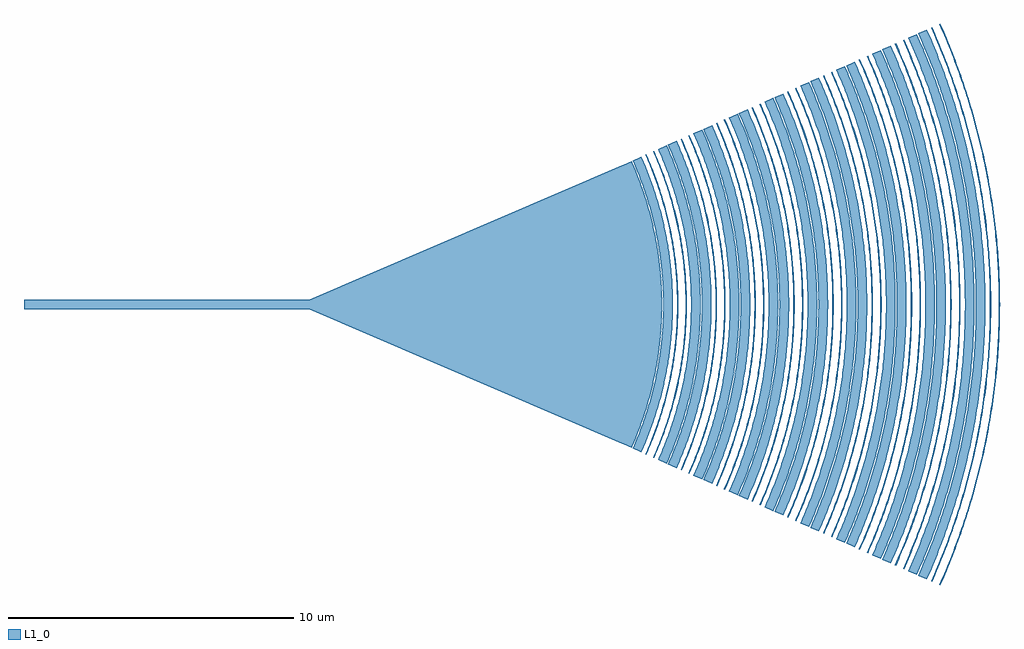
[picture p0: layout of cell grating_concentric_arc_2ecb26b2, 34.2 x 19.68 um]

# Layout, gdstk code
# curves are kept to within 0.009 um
import gdstk
lib = gdstk.Library(unit=1e-6, precision=1e-09)
def R(c, l, rs):  # rectangles x0, y0, x1, y1
    for r in rs: c.add(gdstk.rectangle(r[:2], r[2:], *l))
def P(c, l, *ps):  # polygons
    for p in ps: c.add(gdstk.Polygon(p, *l))
L1_0 = (1, 0)

straight_3aa2beef = lib.new_cell('straight_3aa2beef')
R(straight_3aa2beef, L1_0, [(0,-0.175,10,0.175)])

ring_4ba980b7_transform_ = lib.new_cell('ring_4ba980b7_transform_9ef87e85')
P(ring_4ba980b7_transform_, L1_0, [(10.049,-4.474),(10.246,-4.002),(10.462,-3.399),(10.642,-2.785),(10.76,-2.287),(10.865,-1.721),(10.94,-1.15),(10.985,-0.576),(11,-0.064),(10.985,0.576),(10.94,1.15),(10.865,1.721),(10.76,2.287),(10.642,2.785),(10.462,3.399),(10.246,4.002),(10.049,4.474),(11.289,5.026),(11.613,4.227),(11.899,3.337),(12.103,2.499),(12.238,1.72),(12.323,0.934),(12.358,0.072),(12.333,-0.79),(12.257,-1.577),(12.103,-2.499),(11.899,-3.337),(11.613,-4.227),(11.289,-5.026)])

ring_e87ca34e_transform_ = lib.new_cell('ring_e87ca34e_transform_e668de71')
P(ring_e87ca34e_transform_, L1_0, [(11.328,-5.043),(11.524,-4.578),(11.748,-3.969),(11.919,-3.418),(12.066,-2.86),(12.186,-2.295),(12.289,-1.654),(12.359,-1.009),(12.395,-0.361),(12.395,0.361),(12.353,1.081),(12.269,1.797),(12.158,2.437),(12.014,3.07),(11.837,3.694),(11.602,4.376),(11.328,5.043),(11.636,5.18),(11.891,4.564),(12.136,3.865),(12.322,3.225),(12.503,2.43),(12.633,1.626),(12.706,0.888),(12.735,0.222),(12.729,-0.445),(12.682,-1.184),(12.568,-2.066),(12.427,-2.793),(12.202,-3.653),(11.969,-4.356),(11.636,-5.18)])

ring_21615634_transform_ = lib.new_cell('ring_21615634_transform_f501d0bd')
P(ring_21615634_transform_, L1_0, [(11.772,-5.241),(12.003,-4.688),(12.109,-4.407),(12.232,-4.053),(12.345,-3.696),(12.447,-3.335),(12.589,-2.752),(12.703,-2.164),(12.75,-1.868),(12.799,-1.496),(12.837,-1.123),(12.86,-0.824),(12.878,-0.45),(12.886,-0.075),(12.884,0.225),(12.872,0.6),(12.86,0.824),(12.823,1.272),(12.79,1.57),(12.739,1.942),(12.635,2.532),(12.556,2.899),(12.485,3.19),(12.345,3.696),(12.232,4.053),(12.083,4.478),(11.948,4.827),(11.772,5.241),(11.809,5.258),(12.041,4.703),(12.198,4.279),(12.294,3.994),(12.405,3.635),(12.486,3.346),(12.578,2.981),(12.644,2.688),(12.717,2.319),(12.779,1.948),(12.856,1.351),(12.89,0.977),(12.909,0.677),(12.923,0.301),(12.926,-0.15),(12.905,-0.752),(12.884,-1.052),(12.848,-1.426),(12.801,-1.799),(12.743,-2.171),(12.689,-2.466),(12.612,-2.834),(12.524,-3.2),(12.426,-3.563),(12.317,-3.923),(12.198,-4.279),(12.041,-4.703),(11.809,-5.258)])

ring_7d6dc47c_transform_ = lib.new_cell('ring_7d6dc47c_transform_3115335e')
P(ring_7d6dc47c_transform_, L1_0, [(12.043,-5.362),(12.165,-5.08),(12.335,-4.653),(12.538,-4.074),(12.714,-3.486),(12.81,-3.115),(12.879,-2.816),(12.941,-2.515),(13.021,-2.062),(13.055,-1.835),(13.111,-1.378),(13.161,-0.767),(13.175,-0.46),(13.183,-0.077),(13.181,0.23),(13.169,0.613),(13.151,0.92),(13.119,1.302),(13.085,1.607),(13.021,2.062),(12.911,2.666),(12.773,3.264),(12.607,3.854),(12.465,4.292),(12.335,4.653),(12.165,5.08),(12.043,5.362),(12.08,5.378),(12.232,5.025),(12.373,4.667),(12.478,4.378),(12.6,4.013),(12.69,3.719),(12.793,3.348),(12.935,2.749),(12.995,2.448),(13.061,2.069),(13.143,1.459),(13.18,1.076),(13.201,0.769),(13.218,0.385),(13.224,0),(13.218,-0.385),(13.201,-0.769),(13.18,-1.076),(13.143,-1.459),(13.095,-1.84),(13.036,-2.22),(12.981,-2.523),(12.902,-2.9),(12.793,-3.348),(12.69,-3.719),(12.6,-4.013),(12.478,-4.378),(12.317,-4.811),(12.142,-5.238),(12.08,-5.378)])

ring_78e74c70_transform_ = lib.new_cell('ring_78e74c70_transform_da5b2d7b')
P(ring_78e74c70_transform_, L1_0, [(12.217,-5.44),(12.429,-4.938),(12.695,-4.207),(12.877,-3.611),(13.031,-3.008),(13.184,-2.246),(13.274,-1.63),(13.341,-0.933),(13.368,-0.389),(13.368,0.389),(13.323,1.166),(13.221,2.015),(13.113,2.628),(12.938,3.386),(12.743,4.059),(12.513,4.72),(12.217,5.44),(12.524,5.576),(12.799,4.913),(13.063,4.16),(13.283,3.394),(13.442,2.694),(13.565,1.987),(13.664,1.115),(13.704,0.399),(13.704,-0.399),(13.65,-1.274),(13.541,-2.145),(13.376,-3.006),(13.156,-3.855),(12.883,-4.689),(12.524,-5.576)])

ring_c558f3fc_transform_ = lib.new_cell('ring_c558f3fc_transform_60237c54')
P(ring_c558f3fc_transform_, L1_0, [(12.564,-5.594),(12.811,-5.003),(13.004,-4.478),(13.198,-3.868),(13.382,-3.172),(13.53,-2.467),(13.63,-1.835),(13.701,-1.199),(13.745,-0.48),(13.745,0.48),(13.701,1.199),(13.608,1.993),(13.485,2.703),(13.305,3.482),(13.08,4.25),(12.811,5.003),(12.564,5.594),(12.871,5.73),(13.211,4.896),(13.449,4.197),(13.65,3.488),(13.83,2.688),(13.952,1.961),(14.042,1.146),(14.083,0.41),(14.083,-0.41),(14.06,-0.901),(14.012,-1.473),(13.889,-2.366),(13.728,-3.169),(13.497,-4.041),(13.211,-4.896),(12.871,-5.73)])

ring_3aac41f4_transform_ = lib.new_cell('ring_3aac41f4_transform_5b0ce5d2')
P(ring_3aac41f4_transform_, L1_0, [(13.009,-5.792),(13.172,-5.411),(13.294,-5.103),(13.437,-4.714),(13.543,-4.4),(13.665,-4.005),(13.776,-3.605),(13.929,-2.961),(14.009,-2.554),(14.077,-2.146),(14.162,-1.488),(14.216,-0.828),(14.234,-0.414),(14.24,0),(14.234,0.414),(14.216,0.828),(14.162,1.488),(14.077,2.146),(14.009,2.554),(13.946,2.88),(13.875,3.203),(13.776,3.605),(13.593,4.242),(13.437,4.714),(13.294,5.103),(13.172,5.411),(13.009,5.792),(13.046,5.808),(13.209,5.426),(13.332,5.118),(13.475,4.728),(13.607,4.334),(13.704,4.016),(13.815,3.616),(13.933,3.131),(13.985,2.888),(14.049,2.562),(14.117,2.152),(14.153,1.905),(14.202,1.493),(14.233,1.162),(14.261,0.747),(14.278,0.249),(14.28,-0.083),(14.272,-0.498),(14.251,-0.913),(14.226,-1.245),(14.184,-1.658),(14.091,-2.316),(14.018,-2.725),(13.933,-3.131),(13.836,-3.535),(13.75,-3.856),(13.632,-4.255),(13.475,-4.728),(13.302,-5.195),(13.046,-5.808)])

ring_c8a88486_transform_ = lib.new_cell('ring_c8a88486_transform_3725f26d')
P(ring_c8a88486_transform_, L1_0, [(13.282,-5.913),(13.416,-5.603),(13.573,-5.21),(13.719,-4.813),(13.827,-4.493),(13.952,-4.089),(14.065,-3.681),(14.147,-3.353),(14.221,-3.023),(14.303,-2.608),(14.36,-2.274),(14.409,-1.94),(14.459,-1.52),(14.497,-1.099),(14.519,-0.761),(14.535,-0.338),(14.539,0),(14.535,0.338),(14.519,0.761),(14.497,1.099),(14.459,1.52),(14.409,1.94),(14.36,2.274),(14.303,2.608),(14.221,3.023),(14.147,3.353),(14.065,3.681),(13.903,4.251),(13.801,4.573),(13.633,5.052),(13.448,5.525),(13.282,5.913),(13.319,5.93),(13.549,5.383),(13.671,5.066),(13.785,4.746),(13.917,4.344),(14.104,3.691),(14.186,3.362),(14.278,2.948),(14.358,2.532),(14.413,2.197),(14.46,1.861),(14.508,1.44),(14.544,1.017),(14.567,0.594),(14.579,-0.085),(14.559,-0.763),(14.531,-1.186),(14.49,-1.608),(14.4,-2.281),(14.343,-2.615),(14.243,-3.114),(14.146,-3.527),(14.014,-4.019),(13.917,-4.344),(13.785,-4.746),(13.611,-5.225),(13.387,-5.774),(13.319,-5.93)])

ring_043f274a_transform_ = lib.new_cell('ring_043f274a_transform_35532aca')
P(ring_043f274a_transform_, L1_0, [(13.457,-5.992),(13.69,-5.439),(13.956,-4.715),(14.184,-3.978),(14.353,-3.314),(14.522,-2.474),(14.621,-1.795),(14.689,-1.113),(14.725,-0.428),(14.725,0.428),(14.675,1.284),(14.588,2.05),(14.444,2.895),(14.251,3.73),(14.036,4.471),(13.783,5.199),(13.457,5.992),(13.763,6.128),(14.065,5.399),(14.355,4.572),(14.597,3.73),(14.789,2.875),(14.931,2.01),(15.016,1.226),(15.059,0.438),(15.059,-0.438),(15.035,-0.963),(14.992,-1.488),(14.88,-2.357),(14.699,-3.304),(14.482,-4.153),(14.157,-5.153),(13.763,-6.128)])

ring_db282fc3_transform_ = lib.new_cell('ring_db282fc3_transform_7a5d07a5')
P(ring_db282fc3_transform_, L1_0, [(13.804,-6.146),(14.107,-5.415),(14.344,-4.753),(14.573,-3.996),(14.724,-3.399),(14.866,-2.71),(14.998,-1.842),(15.068,-1.142),(15.107,-0.352),(15.102,0.527),(15.061,1.229),(14.964,2.103),(14.799,3.056),(14.596,3.911),(14.398,4.586),(14.107,5.415),(13.804,6.146),(14.11,6.282),(14.452,5.451),(14.744,4.602),(14.987,3.737),(15.162,2.947),(15.295,2.15),(15.387,1.346),(15.439,0.449),(15.439,-0.449),(15.379,-1.436),(15.269,-2.327),(15.108,-3.211),(14.872,-4.171),(14.717,-4.687),(14.514,-5.283),(14.321,-5.786),(14.11,-6.282)])

ring_b62f3d1b_transform_ = lib.new_cell('ring_b62f3d1b_transform_773a5bcc')
P(ring_b62f3d1b_transform_, L1_0, [(14.25,-6.344),(14.428,-5.927),(14.562,-5.59),(14.719,-5.164),(14.835,-4.82),(14.969,-4.387),(15.067,-4.037),(15.157,-3.685),(15.238,-3.332),(15.312,-2.976),(15.392,-2.53),(15.459,-2.081),(15.503,-1.721),(15.539,-1.359),(15.572,-0.907),(15.592,-0.454),(15.598,-0.091),(15.589,0.544),(15.572,0.907),(15.531,1.45),(15.471,1.991),(15.42,2.35),(15.361,2.709),(15.276,3.154),(15.219,3.42),(15.113,3.862),(15.019,4.212),(14.917,4.56),(14.778,4.992),(14.626,5.42),(14.428,5.927),(14.25,6.344),(14.287,6.361),(14.466,5.943),(14.6,5.604),(14.757,5.177),(14.901,4.746),(14.982,4.485),(15.106,4.048),(15.217,3.607),(15.316,3.162),(15.417,2.626),(15.474,2.267),(15.553,1.635),(15.601,1.091),(15.622,0.728),(15.639,0),(15.622,-0.728),(15.601,-1.091),(15.553,-1.635),(15.499,-2.086),(15.432,-2.536),(15.334,-3.073),(15.278,-3.34),(15.152,-3.872),(15.058,-4.223),(14.901,-4.746),(14.787,-5.091),(14.6,-5.604),(14.36,-6.194),(14.287,-6.361)])

ring_c989861c_transform_ = lib.new_cell('ring_c989861c_transform_946d73ca')
P(ring_c989861c_transform_, L1_0, [(14.524,-6.467),(14.671,-6.127),(14.843,-5.698),(15.002,-5.264),(15.121,-4.913),(15.231,-4.56),(15.333,-4.204),(15.427,-3.846),(15.532,-3.396),(15.607,-3.034),(15.673,-2.67),(15.757,-2.121),(15.802,-1.754),(15.846,-1.294),(15.872,-0.924),(15.889,-0.555),(15.899,-0.092),(15.898,0.185),(15.882,0.74),(15.83,1.478),(15.78,1.938),(15.731,2.304),(15.673,2.67),(15.589,3.124),(15.512,3.486),(15.427,3.846),(15.333,4.204),(15.177,4.737),(15.033,5.176),(14.876,5.611),(14.671,6.127),(14.524,6.467),(14.561,6.483),(14.744,6.057),(14.881,5.712),(15.071,5.189),(15.188,4.837),(15.296,4.483),(15.42,4.036),(15.51,3.676),(15.591,3.314),(15.681,2.859),(15.743,2.493),(15.809,2.035),(15.852,1.666),(15.894,1.204),(15.922,0.742),(15.937,0.278),(15.939,-0.093),(15.93,-0.556),(15.907,-1.019),(15.879,-1.389),(15.842,-1.758),(15.797,-2.126),(15.713,-2.676),(15.61,-3.223),(15.531,-3.586),(15.42,-4.036),(15.322,-4.393),(15.188,-4.837),(15.071,-5.189),(14.881,-5.712),(14.636,-6.313),(14.561,-6.483)])

ring_250f2cf2_transform_ = lib.new_cell('ring_250f2cf2_transform_933816e6')
P(ring_250f2cf2_transform_, L1_0, [(14.702,-6.546),(15.024,-5.767),(15.276,-5.062),(15.495,-4.346),(15.701,-3.529),(15.832,-2.887),(15.973,-1.961),(16.047,-1.216),(16.086,-0.468),(16.086,0.468),(16.032,1.403),(15.923,2.332),(15.779,3.163),(15.592,3.984),(15.334,4.884),(15.024,5.767),(14.702,6.546),(15.006,6.681),(15.335,5.887),(15.652,4.985),(15.915,4.067),(16.125,3.134),(16.253,2.381),(16.364,1.432),(16.413,0.669),(16.422,-0.382),(16.364,-1.432),(16.253,-2.381),(16.087,-3.322),(15.842,-4.344),(15.652,-4.985),(15.436,-5.618),(15.266,-6.065),(15.006,-6.681)])

ring_96a9cfee_transform_ = lib.new_cell('ring_96a9cfee_transform_826e98af')
P(ring_96a9cfee_transform_, L1_0, [(15.049,-6.7),(15.345,-5.993),(15.607,-5.272),(15.835,-4.541),(16.051,-3.706),(16.223,-2.861),(16.351,-2.008),(16.44,-1.053),(16.469,-0.383),(16.46,0.671),(16.411,1.436),(16.313,2.293),(16.171,3.143),(15.961,4.078),(15.725,4.908),(15.447,5.724),(15.049,6.7),(15.354,6.836),(15.76,5.84),(16.044,5.007),(16.308,4.066),(16.498,3.207),(16.657,2.242),(16.759,1.27),(16.8,0.489),(16.8,-0.489),(16.743,-1.465),(16.615,-2.533),(16.44,-3.494),(16.308,-4.066),(16.156,-4.633),(15.954,-5.286),(15.76,-5.84),(15.354,-6.836)])

ring_41fd5f24_transform_ = lib.new_cell('ring_41fd5f24_transform_95033df4')
P(ring_41fd5f24_transform_, L1_0, [(15.495,-6.899),(15.689,-6.445),(15.835,-6.078),(16.005,-5.615),(16.131,-5.241),(16.277,-4.77),(16.409,-4.295),(16.527,-3.815),(16.591,-3.526),(16.65,-3.236),(16.737,-2.751),(16.81,-2.263),(16.858,-1.871),(16.897,-1.478),(16.933,-0.986),(16.951,-0.592),(16.961,-0.099),(16.957,0.395),(16.943,0.789),(16.927,1.085),(16.888,1.577),(16.823,2.165),(16.768,2.556),(16.704,2.945),(16.631,3.333),(16.481,4.007),(16.358,4.485),(16.249,4.865),(16.069,5.429),(15.87,5.986),(15.689,6.445),(15.495,6.899),(15.532,6.915),(15.689,6.552),(15.837,6.185),(16.01,5.722),(16.17,5.254),(16.316,4.781),(16.397,4.496),(16.497,4.113),(16.63,3.535),(16.726,3.05),(16.808,2.562),(16.863,2.17),(16.909,1.777),(16.973,0.989),(16.995,0.494),(17.002,0),(16.995,-0.494),(16.973,-0.989),(16.909,-1.777),(16.85,-2.268),(16.777,-2.757),(16.708,-3.147),(16.609,-3.632),(16.497,-4.113),(16.397,-4.496),(16.259,-4.971),(16.107,-5.442),(15.908,-6),(15.689,-6.552),(15.532,-6.915)])

ring_26d16d3f_transform_ = lib.new_cell('ring_26d16d3f_transform_29b5754f')
P(ring_26d16d3f_transform_, L1_0, [(15.771,-7.022),(15.969,-6.56),(16.153,-6.093),(16.323,-5.621),(16.45,-5.239),(16.595,-4.759),(16.701,-4.371),(16.844,-3.786),(16.907,-3.491),(16.984,-3.097),(17.067,-2.601),(17.123,-2.204),(17.169,-1.805),(17.207,-1.405),(17.235,-1.004),(17.259,-0.402),(17.264,0),(17.259,0.402),(17.235,1.004),(17.207,1.405),(17.169,1.805),(17.123,2.204),(17.067,2.601),(16.984,3.097),(16.907,3.491),(16.844,3.786),(16.701,4.371),(16.595,4.759),(16.48,5.143),(16.323,5.621),(16.153,6.093),(15.969,6.56),(15.771,7.022),(15.808,7.038),(15.968,6.668),(16.191,6.107),(16.361,5.634),(16.488,5.251),(16.606,4.866),(16.715,4.479),(16.838,3.991),(16.947,3.499),(17.041,3.005),(17.107,2.607),(17.163,2.209),(17.22,1.709),(17.269,1.107),(17.29,0.705),(17.303,0.201),(17.304,-0.101),(17.294,-0.604),(17.275,-1.006),(17.247,-1.408),(17.199,-1.909),(17.136,-2.408),(17.075,-2.806),(17.005,-3.203),(16.905,-3.696),(16.838,-3.991),(16.715,-4.479),(16.548,-5.059),(16.394,-5.538),(16.191,-6.107),(15.929,-6.761),(15.808,-7.038)])

ring_d49cd680_transform_ = lib.new_cell('ring_d49cd680_transform_cfafa984')
P(ring_d49cd680_transform_, L1_0, [(15.95,-7.101),(16.3,-6.257),(16.573,-5.492),(16.811,-4.715),(17.035,-3.828),(17.212,-2.932),(17.317,-2.229),(17.41,-1.319),(17.455,-0.406),(17.449,0.609),(17.384,1.623),(17.26,2.631),(17.099,3.531),(16.891,4.421),(16.636,5.299),(16.3,6.257),(15.95,7.101),(16.254,7.237),(16.647,6.279),(16.953,5.399),(17.238,4.405),(17.445,3.496),(17.604,2.579),(17.715,1.654),(17.781,0.621),(17.787,-0.414),(17.733,-1.448),(17.619,-2.476),(17.445,-3.496),(17.186,-4.605),(16.984,-5.301),(16.789,-5.89),(16.535,-6.569),(16.254,-7.237)])

ring_6d525cad_transform_ = lib.new_cell('ring_6d525cad_transform_e03585a9')
P(ring_6d525cad_transform_, L1_0, [(16.298,-7.256),(16.656,-6.393),(16.935,-5.612),(17.178,-4.818),(17.429,-3.811),(17.587,-2.996),(17.708,-2.174),(17.79,-1.348),(17.836,-0.415),(17.83,0.623),(17.773,1.555),(17.667,2.483),(17.493,3.506),(17.285,4.417),(16.999,5.414),(16.656,6.393),(16.298,7.256),(16.602,7.392),(16.966,6.513),(17.348,5.414),(17.633,4.396),(17.839,3.468),(17.996,2.529),(18.113,1.479),(18.162,0.634),(18.168,-0.423),(18.113,-1.479),(18.062,-2.005),(17.981,-2.634),(17.897,-3.156),(17.776,-3.778),(17.526,-4.806),(17.348,-5.414),(17.113,-6.116),(16.85,-6.808),(16.602,-7.392)])

ring_9de17cb0_transform_ = lib.new_cell('ring_9de17cb0_transform_698b9c2f')
P(ring_9de17cb0_transform_, L1_0, [(16.744,-7.455),(16.954,-6.965),(17.112,-6.569),(17.296,-6.068),(17.465,-5.563),(17.589,-5.155),(17.705,-4.744),(17.835,-4.227),(17.929,-3.811),(18.032,-3.288),(18.12,-2.762),(18.193,-2.234),(18.229,-1.916),(18.277,-1.385),(18.304,-0.959),(18.318,-0.64),(18.329,-0.107),(18.328,0.213),(18.314,0.746),(18.292,1.172),(18.24,1.81),(18.193,2.234),(18.136,2.656),(18.051,3.183),(17.972,3.602),(17.883,4.019),(17.759,4.538),(17.648,4.95),(17.497,5.461),(17.331,5.967),(17.15,6.469),(16.954,6.965),(16.744,7.455),(16.781,7.472),(16.951,7.079),(17.111,6.683),(17.334,6.081),(17.503,5.575),(17.658,5.063),(17.798,4.548),(17.899,4.132),(17.99,3.715),(18.072,3.295),(18.16,2.768),(18.233,2.239),(18.28,1.814),(18.325,1.281),(18.35,0.855),(18.367,0.321),(18.369,-0.107),(18.35,-0.855),(18.309,-1.495),(18.269,-1.92),(18.191,-2.557),(18.109,-3.085),(18.032,-3.505),(17.946,-3.924),(17.824,-4.444),(17.716,-4.858),(17.567,-5.371),(17.369,-5.981),(17.111,-6.683),(16.951,-7.079),(16.781,-7.472)])

ring_8789f875_transform_ = lib.new_cell('ring_8789f875_transform_cf0cde5d')
P(ring_8789f875_transform_, L1_0, [(17.022,-7.579),(17.236,-7.081),(17.396,-6.678),(17.583,-6.169),(17.755,-5.655),(17.912,-5.136),(18.026,-4.718),(18.106,-4.403),(18.226,-3.874),(18.291,-3.555),(18.387,-3.022),(18.467,-2.486),(18.52,-2.055),(18.572,-1.516),(18.602,-1.083),(18.622,-0.65),(18.633,-0.108),(18.631,0.325),(18.618,0.759),(18.588,1.3),(18.553,1.732),(18.52,2.055),(18.437,2.701),(18.369,3.129),(18.27,3.662),(18.18,4.086),(18.08,4.508),(17.941,5.032),(17.819,5.448),(17.688,5.861),(17.472,6.475),(17.236,7.081),(17.022,7.579),(17.059,7.595),(17.273,7.096),(17.472,6.591),(17.621,6.182),(17.76,5.77),(17.858,5.46),(18.009,4.938),(18.145,4.412),(18.266,3.882),(18.371,3.35),(18.444,2.921),(18.507,2.491),(18.56,2.06),(18.603,1.628),(18.642,1.086),(18.666,0.543),(18.674,0),(18.666,-0.543),(18.642,-1.086),(18.603,-1.628),(18.56,-2.06),(18.477,-2.706),(18.409,-3.136),(18.331,-3.563),(18.243,-3.989),(18.119,-4.518),(17.98,-5.043),(17.826,-5.563),(17.656,-6.08),(17.472,-6.591),(17.189,-7.296),(17.059,-7.595)])

ring_09fe1b43_transform_ = lib.new_cell('ring_09fe1b43_transform_5feb3bce')
P(ring_09fe1b43_transform_, L1_0, [(17.203,-7.659),(17.541,-6.851),(17.875,-5.923),(18.161,-4.98),(18.373,-4.129),(18.582,-3.054),(18.704,-2.186),(18.785,-1.314),(18.826,-0.438),(18.823,0.548),(18.759,1.641),(18.648,2.621),(18.464,3.701),(18.245,4.662),(17.943,5.715),(17.769,6.234),(17.541,6.851),(17.203,7.659),(17.505,7.794),(17.929,6.763),(18.292,5.709),(18.538,4.852),(18.788,3.766),(18.96,2.777),(19.089,1.67),(19.154,0.557),(19.157,-0.446),(19.13,-1.114),(19.089,-1.67),(18.96,-2.777),(18.766,-3.875),(18.671,-4.311),(18.48,-5.067),(18.292,-5.709),(18.044,-6.449),(17.767,-7.178),(17.505,-7.794)])

ring_1b9ba709_transform_ = lib.new_cell('ring_1b9ba709_transform_eb43dd9c')
P(ring_1b9ba709_transform_, L1_0, [(17.551,-7.814),(17.896,-6.989),(18.202,-6.149),(18.499,-5.188),(18.745,-4.213),(18.94,-3.226),(19.083,-2.23),(19.166,-1.34),(19.207,-0.447),(19.207,0.447),(19.166,1.34),(19.083,2.23),(18.976,3.005),(18.838,3.776),(18.745,4.213),(18.558,4.973),(18.437,5.403),(18.272,5.937),(18.054,6.571),(17.771,7.301),(17.551,7.814),(17.854,7.949),(18.286,6.898),(18.622,5.931),(18.907,4.948),(19.14,3.952),(19.337,2.832),(19.459,1.817),(19.532,0.682),(19.541,-0.341),(19.488,-1.477),(19.369,-2.607),(19.247,-3.394),(19.14,-3.952),(18.878,-5.058),(18.69,-5.714),(18.479,-6.363),(18.163,-7.216),(17.854,-7.949)])

ring_24df8bd4_transform_ = lib.new_cell('ring_24df8bd4_transform_e99ca054')
P(ring_24df8bd4_transform_, L1_0, [(17.998,-8.013),(18.224,-7.487),(18.352,-7.167),(18.552,-6.631),(18.702,-6.197),(18.907,-5.541),(19.06,-4.988),(19.171,-4.544),(19.295,-3.984),(19.382,-3.534),(19.477,-2.969),(19.526,-2.628),(19.594,-2.059),(19.645,-1.489),(19.675,-1.031),(19.69,-0.688),(19.702,0),(19.69,0.688),(19.675,1.031),(19.645,1.489),(19.594,2.059),(19.526,2.628),(19.477,2.969),(19.382,3.534),(19.295,3.984),(19.171,4.544),(19.06,4.988),(18.907,5.541),(18.807,5.87),(18.591,6.522),(18.434,6.953),(18.224,7.487),(17.998,8.013),(18.035,8.03),(18.261,7.502),(18.431,7.075),(18.629,6.536),(18.776,6.101),(18.913,5.662),(19.099,4.999),(19.21,4.553),(19.334,3.992),(19.422,3.541),(19.499,3.088),(19.55,2.748),(19.634,2.064),(19.694,1.377),(19.721,0.918),(19.737,0.459),(19.742,-0.115),(19.734,-0.574),(19.709,-1.148),(19.667,-1.721),(19.634,-2.064),(19.55,-2.748),(19.481,-3.202),(19.401,-3.654),(19.286,-4.217),(19.183,-4.664),(19.039,-5.22),(18.913,-5.662),(18.74,-6.21),(18.472,-6.968),(18.261,-7.502),(18.035,-8.03)])

ring_9485e163_transform_ = lib.new_cell('ring_9485e163_transform_ae78e597')
P(ring_9485e163_transform_, L1_0, [(18.278,-8.138),(18.507,-7.603),(18.637,-7.279),(18.841,-6.734),(18.992,-6.293),(19.167,-5.738),(19.295,-5.291),(19.441,-4.727),(19.546,-4.274),(19.64,-3.818),(19.743,-3.245),(19.829,-2.669),(19.886,-2.207),(19.932,-1.744),(19.974,-1.163),(19.999,-0.582),(20.008,0),(20.005,0.349),(19.986,0.931),(19.959,1.396),(19.91,1.976),(19.859,2.438),(19.779,3.015),(19.704,3.474),(19.618,3.932),(19.495,4.501),(19.385,4.953),(19.233,5.515),(19.099,5.961),(18.918,6.514),(18.679,7.17),(18.507,7.603),(18.278,8.138),(18.315,8.154),(18.544,7.618),(18.758,7.076),(18.956,6.527),(19.067,6.195),(19.239,5.638),(19.395,5.076),(19.508,4.623),(19.634,4.054),(19.723,3.596),(19.819,3.021),(19.884,2.559),(19.95,1.98),(19.991,1.515),(20.026,0.933),(20.045,0.35),(20.048,-0.117),(20.036,-0.7),(20.014,-1.166),(19.972,-1.747),(19.926,-2.212),(19.869,-2.675),(19.783,-3.251),(19.68,-3.825),(19.56,-4.396),(19.424,-4.963),(19.303,-5.414),(19.138,-5.973),(18.956,-6.527),(18.758,-7.076),(18.454,-7.833),(18.315,-8.154)])

ring_f6312f1e_transform_ = lib.new_cell('ring_f6312f1e_transform_2a4b2690')
P(ring_f6312f1e_transform_, L1_0, [(18.46,-8.219),(18.907,-7.132),(19.218,-6.244),(19.488,-5.343),(19.741,-4.316),(19.92,-3.393),(20.084,-2.229),(20.166,-1.292),(20.204,-0.353),(20.195,0.705),(20.158,1.41),(20.056,2.463),(19.92,3.393),(19.813,3.971),(19.635,4.774),(19.324,5.908),(19.106,6.579),(18.907,7.132),(18.46,8.219),(18.761,8.353),(19.173,7.36),(19.532,6.346),(19.868,5.2),(20.113,4.153),(20.32,2.976),(20.448,1.909),(20.52,0.836),(20.534,-0.358),(20.515,-0.955),(20.469,-1.671),(20.337,-2.858),(20.225,-3.566),(20.113,-4.153),(19.868,-5.2),(19.604,-6.119),(19.379,-6.799),(19.086,-7.582),(18.761,-8.353)])

ring_8a586534_transform_ = lib.new_cell('ring_8a586534_transform_0383bdec')
P(ring_8a586534_transform_, L1_0, [(18.809,-8.374),(19.178,-7.49),(19.544,-6.476),(19.856,-5.444),(20.114,-4.398),(20.297,-3.457),(20.45,-2.39),(20.547,-1.317),(20.586,-0.359),(20.58,0.599),(20.521,1.675),(20.436,2.509),(20.297,3.457),(20.164,4.163),(20.034,4.748),(19.724,5.905),(19.506,6.59),(19.306,7.154),(19.045,7.824),(18.809,8.374),(19.11,8.508),(19.486,7.61),(19.699,7.04),(19.895,6.464),(20.206,5.414),(20.487,4.23),(20.68,3.152),(20.817,2.066),(20.902,0.852),(20.916,-0.365),(20.902,-0.852),(20.85,-1.702),(20.732,-2.791),(20.535,-3.992),(20.383,-4.706),(20.237,-5.297),(20.005,-6.116),(19.699,-7.04),(19.396,-7.836),(19.11,-8.508)])

ring_ad8dddb4_transform_ = lib.new_cell('ring_ad8dddb4_transform_60ba6db0')
P(ring_ad8dddb4_transform_, L1_0, [(19.256,-8.574),(19.498,-8.01),(19.679,-7.554),(19.849,-7.094),(20.047,-6.514),(20.228,-5.928),(20.361,-5.456),(20.511,-4.861),(20.618,-4.383),(20.715,-3.902),(20.838,-3.176),(20.922,-2.569),(20.976,-2.081),(21.019,-1.593),(21.05,-1.103),(21.07,-0.613),(21.079,0),(21.07,0.613),(21.05,1.103),(21.019,1.593),(20.976,2.081),(20.922,2.569),(20.838,3.176),(20.759,3.66),(20.643,4.263),(20.539,4.742),(20.423,5.218),(20.296,5.692),(20.122,6.28),(19.93,6.863),(19.679,7.554),(19.498,8.01),(19.256,8.574),(19.293,8.59),(19.488,8.139),(19.672,7.683),(19.887,7.108),(20.047,6.643),(20.232,6.057),(20.367,5.585),(20.492,5.109),(20.658,4.391),(20.754,3.909),(20.878,3.182),(20.962,2.574),(21.016,2.085),(21.068,1.473),(21.096,0.983),(21.116,0.369),(21.119,-0.123),(21.106,-0.737),(21.076,-1.351),(21.039,-1.841),(20.99,-2.33),(20.93,-2.817),(20.859,-3.304),(20.754,-3.909),(20.632,-4.511),(20.492,-5.109),(20.367,-5.585),(20.196,-6.175),(20.008,-6.759),(19.76,-7.454),(19.488,-8.139),(19.293,-8.59)])

ring_7403d5d4_transform_ = lib.new_cell('ring_7403d5d4_transform_1fa5495c')
P(ring_7403d5d4_transform_, L1_0, [(19.538,-8.699),(19.735,-8.242),(19.966,-7.664),(20.181,-7.08),(20.34,-6.609),(20.524,-6.014),(20.69,-5.415),(20.81,-4.932),(20.945,-4.325),(21.062,-3.714),(21.161,-3.1),(21.212,-2.73),(21.282,-2.112),(21.335,-1.492),(21.357,-1.119),(21.378,-0.622),(21.387,0),(21.378,0.622),(21.357,1.119),(21.335,1.492),(21.282,2.112),(21.212,2.73),(21.161,3.1),(21.062,3.714),(20.945,4.325),(20.81,4.932),(20.69,5.415),(20.524,6.014),(20.415,6.372),(20.262,6.845),(20.01,7.548),(19.735,8.242),(19.538,8.699),(19.574,8.715),(19.82,8.142),(20.004,7.679),(20.219,7.094),(20.378,6.621),(20.527,6.145),(20.697,5.546),(20.82,5.063),(20.959,4.455),(21.057,3.966),(21.163,3.352),(21.252,2.735),(21.296,2.364),(21.356,1.743),(21.391,1.246),(21.418,0.623),(21.427,0),(21.418,-0.623),(21.391,-1.246),(21.356,-1.743),(21.296,-2.364),(21.252,-2.735),(21.163,-3.352),(21.057,-3.966),(20.959,-4.455),(20.82,-5.063),(20.697,-5.546),(20.491,-6.265),(20.3,-6.858),(20.092,-7.445),(19.82,-8.142),(19.574,-8.715)])

ring_add9daba_transform_ = lib.new_cell('ring_add9daba_transform_0cb305e8')
P(ring_add9daba_transform_, L1_0, [(19.721,-8.78),(20.154,-7.736),(20.492,-6.79),(20.786,-5.83),(21.062,-4.734),(21.26,-3.749),(21.427,-2.631),(21.526,-1.631),(21.582,-0.502),(21.582,0.502),(21.535,1.506),(21.442,2.506),(21.302,3.501),(21.167,4.242),(21.006,4.978),(20.681,6.191),(20.492,6.79),(20.286,7.383),(20.016,8.087),(19.721,8.78),(20.022,8.914),(20.461,7.854),(20.844,6.773),(21.17,5.672),(21.326,5.054),(21.464,4.432),(21.685,3.176),(21.783,2.418),(21.833,1.91),(21.903,0.765),(21.913,-0.382),(21.893,-1.02),(21.854,-1.656),(21.783,-2.418),(21.703,-3.05),(21.605,-3.68),(21.464,-4.432),(21.326,-5.054),(21.17,-5.672),(20.921,-6.53),(20.638,-7.376),(20.368,-8.092),(20.022,-8.914)])

ring_1334f1c6_transform_ = lib.new_cell('ring_1334f1c6_transform_6ccd53bc')
P(ring_1334f1c6_transform_, L1_0, [(20.071,-8.936),(20.465,-7.993),(20.815,-7.032),(21.154,-5.933),(21.436,-4.818),(21.658,-3.689),(21.822,-2.551),(21.917,-1.533),(21.967,-0.383),(21.961,0.639),(21.917,1.533),(21.822,2.551),(21.658,3.689),(21.436,4.818),(21.254,5.563),(21.084,6.179),(20.815,7.032),(20.601,7.634),(20.322,8.349),(20.071,8.936),(20.371,9.07),(20.818,7.991),(21.208,6.891),(21.399,6.271),(21.605,5.52),(21.864,4.382),(22.064,3.232),(22.133,2.718),(22.214,1.943),(22.261,1.297),(22.29,0.649),(22.296,-0.389),(22.245,-1.555),(22.177,-2.331),(22.1,-2.975),(21.914,-4.127),(21.756,-4.89),(21.605,-5.52),(21.325,-6.52),(21.084,-7.26),(20.771,-8.112),(20.371,-9.07)])

ring_cb9ebc21_transform_ = lib.new_cell('ring_cb9ebc21_transform_54103b8e')
P(ring_cb9ebc21_transform_, L1_0, [(20.519,-9.136),(20.726,-8.656),(20.922,-8.171),(21.106,-7.682),(21.321,-7.065),(21.517,-6.442),(21.661,-5.939),(21.825,-5.307),(21.97,-4.67),(22.073,-4.157),(22.184,-3.514),(22.26,-2.996),(22.338,-2.348),(22.386,-1.827),(22.43,-1.175),(22.455,-0.523),(22.461,0),(22.455,0.523),(22.43,1.175),(22.386,1.827),(22.338,2.348),(22.26,2.996),(22.184,3.514),(22.073,4.157),(21.997,4.542),(21.885,5.053),(21.729,5.687),(21.591,6.191),(21.441,6.692),(21.194,7.436),(20.969,8.049),(20.726,8.656),(20.519,9.136),(20.555,9.152),(20.763,8.671),(21.006,8.064),(21.232,7.449),(21.4,6.953),(21.593,6.328),(21.768,5.697),(21.864,5.316),(22.009,4.678),(22.136,4.036),(22.224,3.52),(22.3,3.002),(22.378,2.352),(22.426,1.831),(22.47,1.178),(22.495,0.524),(22.501,0),(22.495,-0.524),(22.47,-1.178),(22.426,-1.831),(22.378,-2.352),(22.3,-3.002),(22.224,-3.52),(22.136,-4.036),(22.009,-4.678),(21.864,-5.316),(21.7,-5.95),(21.518,-6.579),(21.359,-7.078),(21.099,-7.819),(20.813,-8.55),(20.555,-9.152)])

ring_e77836c3_transform_ = lib.new_cell('ring_e77836c3_transform_97ca6357')
P(ring_e77836c3_transform_, L1_0, [(20.802,-9.262),(21.012,-8.775),(21.21,-8.284),(21.397,-7.788),(21.615,-7.162),(21.814,-6.531),(21.96,-6.021),(22.126,-5.38),(22.245,-4.864),(22.377,-4.215),(22.469,-3.693),(22.567,-3.038),(22.646,-2.38),(22.695,-1.853),(22.732,-1.324),(22.761,-0.662),(22.77,-0.132),(22.767,0.397),(22.746,1.059),(22.695,1.853),(22.646,2.38),(22.567,3.038),(22.49,3.562),(22.401,4.084),(22.3,4.605),(22.157,5.251),(22.028,5.765),(21.888,6.276),(21.736,6.784),(21.53,7.413),(21.305,8.036),(21.012,8.775),(20.802,9.262),(20.838,9.278),(21.049,8.79),(21.295,8.175),(21.48,7.677),(21.694,7.049),(21.89,6.415),(22.033,5.904),(22.165,5.389),(22.312,4.743),(22.416,4.222),(22.53,3.568),(22.624,2.912),(22.699,2.252),(22.755,1.591),(22.786,1.061),(22.807,0.398),(22.81,-0.133),(22.797,-0.796),(22.772,-1.326),(22.724,-1.988),(22.671,-2.516),(22.607,-3.043),(22.487,-3.83),(22.366,-4.483),(22.284,-4.872),(22.133,-5.518),(21.963,-6.16),(21.775,-6.796),(21.611,-7.301),(21.343,-8.05),(21.049,-8.79),(20.838,-9.278)])

ring_5b3ce82a_transform_ = lib.new_cell('ring_5b3ce82a_transform_7e86b826')
P(ring_5b3ce82a_transform_, L1_0, [(20.987,-9.344),(21.399,-8.357),(21.765,-7.353),(22.12,-6.204),(22.414,-5.037),(22.647,-3.858),(22.802,-2.8),(22.917,-1.603),(22.967,-0.535),(22.967,0.535),(22.917,1.603),(22.818,2.667),(22.647,3.858),(22.525,4.515),(22.354,5.298),(22.19,5.946),(22.008,6.589),(21.765,7.353),(21.495,8.108),(21.25,8.73),(20.987,9.344),(21.286,9.477),(21.753,8.35),(21.987,7.714),(22.202,7.071),(22.507,6.031),(22.641,5.505),(22.819,4.712),(22.947,4.046),(23.055,3.377),(23.2,2.166),(23.281,0.949),(23.299,0.271),(23.297,-0.407),(23.269,-1.219),(23.234,-1.761),(23.173,-2.436),(23.074,-3.243),(22.97,-3.913),(22.846,-4.579),(22.703,-5.241),(22.541,-5.9),(22.322,-6.683),(21.987,-7.714),(21.604,-8.729),(21.286,-9.477)])

ring_d78f2856_transform_ = lib.new_cell('ring_d78f2856_transform_73a49d8b')
P(ring_d78f2856_transform_, L1_0, [(21.337,-9.5),(21.756,-8.497),(22.171,-7.347),(22.525,-6.176),(22.788,-5.121),(23.001,-4.056),(23.182,-2.846),(23.299,-1.629),(23.353,-0.408),(23.35,0.543),(23.299,1.629),(23.214,2.576),(23.047,3.788),(22.901,4.59),(22.758,5.254),(22.595,5.914),(22.375,6.699),(22.171,7.347),(21.901,8.116),(21.604,8.875),(21.337,9.5),(21.636,9.633),(22.111,8.487),(22.525,7.319),(22.728,6.66),(22.912,5.997),(23.077,5.328),(23.222,4.654),(23.434,3.433),(23.524,2.75),(23.594,2.064),(23.644,1.377),(23.674,0.689),(23.68,-0.413),(23.658,-1.102),(23.616,-1.79),(23.554,-2.476),(23.472,-3.16),(23.37,-3.841),(23.249,-4.519),(23.077,-5.328),(22.912,-5.997),(22.649,-6.924),(22.348,-7.841),(22.061,-8.616),(21.636,-9.633)])

ring_924474b5_transform_ = lib.new_cell('ring_924474b5_transform_4a1f5242')
P(ring_924474b5_transform_, L1_0, [(21.785,-9.7),(22.005,-9.19),(22.263,-8.546),(22.456,-8.026),(22.637,-7.501),(22.885,-6.706),(23.035,-6.172),(23.172,-5.634),(23.297,-5.094),(23.435,-4.414),(23.554,-3.731),(23.634,-3.181),(23.702,-2.631),(23.768,-1.94),(23.807,-1.387),(23.833,-0.832),(23.847,-0.139),(23.844,0.416),(23.821,1.109),(23.779,1.802),(23.731,2.355),(23.652,3.044),(23.554,3.731),(23.485,4.141),(23.355,4.822),(23.236,5.364),(23.105,5.904),(22.961,6.44),(22.764,7.105),(22.548,7.764),(22.313,8.416),(22.058,9.062),(21.785,9.7),(21.822,9.716),(22.042,9.205),(22.301,8.56),(22.586,7.777),(22.761,7.249),(22.962,6.584),(23.109,6.048),(23.275,5.373),(23.394,4.83),(23.5,4.285),(23.635,3.462),(23.726,2.773),(23.784,2.22),(23.829,1.666),(23.861,1.111),(23.884,0.417),(23.887,-0.139),(23.873,-0.834),(23.847,-1.389),(23.784,-2.22),(23.726,-2.773),(23.655,-3.324),(23.571,-3.874),(23.448,-4.558),(23.336,-5.102),(23.178,-5.779),(23,-6.451),(22.802,-7.117),(22.631,-7.645),(22.35,-8.431),(22.095,-9.077),(21.822,-9.716)])

ring_9c35cf03_transform_ = lib.new_cell('ring_9c35cf03_transform_eb86ad41')
P(ring_9c35cf03_transform_, L1_0, [(22.07,-9.826),(22.293,-9.31),(22.554,-8.658),(22.749,-8.131),(22.976,-7.465),(23.144,-6.929),(23.299,-6.388),(23.475,-5.708),(23.631,-5.023),(23.767,-4.333),(23.883,-3.64),(23.979,-2.944),(24.041,-2.385),(24.09,-1.825),(24.126,-1.264),(24.152,-0.562),(24.159,0),(24.152,0.562),(24.126,1.264),(24.09,1.825),(24.041,2.385),(23.979,2.944),(23.883,3.64),(23.792,4.195),(23.66,4.885),(23.571,5.297),(23.407,5.981),(23.223,6.659),(23.062,7.198),(22.888,7.732),(22.604,8.526),(22.452,8.92),(22.293,9.31),(22.07,9.826),(22.107,9.842),(22.33,9.325),(22.541,8.803),(22.787,8.144),(23.014,7.478),(23.182,6.94),(23.374,6.263),(23.514,5.717),(23.67,5.031),(23.781,4.479),(23.901,3.786),(24.001,3.089),(24.066,2.529),(24.13,1.828),(24.166,1.266),(24.192,0.563),(24.199,0),(24.192,-0.563),(24.166,-1.266),(24.13,-1.828),(24.066,-2.529),(24.001,-3.089),(23.901,-3.786),(23.781,-4.479),(23.67,-5.031),(23.514,-5.717),(23.3,-6.535),(23.1,-7.21),(22.926,-7.745),(22.691,-8.409),(22.384,-9.195),(22.107,-9.842)])

grating_concentric_arc_2 = lib.new_cell('grating_concentric_arc_2ecb26b2')
P(grating_concentric_arc_2, L1_0, [(0,0.175),(0,-0.175),(10.963,-4.881),(11.203,-4.3),(11.413,-3.708),(11.564,-3.207),(11.716,-2.597),(11.818,-2.084),(11.923,-1.358),(11.978,-0.733),(12,-0.105),(11.989,0.523),(11.945,1.15),(11.868,1.774),(11.738,2.495),(11.564,3.207),(11.413,3.708),(11.203,4.3),(10.963,4.881)])
grating_concentric_arc_2.add(gdstk.Reference(straight_3aa2beef, (-10,0)))
grating_concentric_arc_2.add(gdstk.Reference(ring_4ba980b7_transform_, (0,0)))
grating_concentric_arc_2.add(gdstk.Reference(ring_e87ca34e_transform_, (0,0)))
grating_concentric_arc_2.add(gdstk.Reference(ring_21615634_transform_, (0,0)))
grating_concentric_arc_2.add(gdstk.Reference(ring_7d6dc47c_transform_, (0,0)))
grating_concentric_arc_2.add(gdstk.Reference(ring_78e74c70_transform_, (0,0)))
grating_concentric_arc_2.add(gdstk.Reference(ring_c558f3fc_transform_, (0,0)))
grating_concentric_arc_2.add(gdstk.Reference(ring_3aac41f4_transform_, (0,0)))
grating_concentric_arc_2.add(gdstk.Reference(ring_c8a88486_transform_, (0,0)))
grating_concentric_arc_2.add(gdstk.Reference(ring_043f274a_transform_, (0,0)))
grating_concentric_arc_2.add(gdstk.Reference(ring_db282fc3_transform_, (0,0)))
grating_concentric_arc_2.add(gdstk.Reference(ring_b62f3d1b_transform_, (0,0)))
grating_concentric_arc_2.add(gdstk.Reference(ring_c989861c_transform_, (0,0)))
grating_concentric_arc_2.add(gdstk.Reference(ring_250f2cf2_transform_, (0,0)))
grating_concentric_arc_2.add(gdstk.Reference(ring_96a9cfee_transform_, (0,0)))
grating_concentric_arc_2.add(gdstk.Reference(ring_41fd5f24_transform_, (0,0)))
grating_concentric_arc_2.add(gdstk.Reference(ring_26d16d3f_transform_, (0,0)))
grating_concentric_arc_2.add(gdstk.Reference(ring_d49cd680_transform_, (0,0)))
grating_concentric_arc_2.add(gdstk.Reference(ring_6d525cad_transform_, (0,0)))
grating_concentric_arc_2.add(gdstk.Reference(ring_9de17cb0_transform_, (0,0)))
grating_concentric_arc_2.add(gdstk.Reference(ring_8789f875_transform_, (0,0)))
grating_concentric_arc_2.add(gdstk.Reference(ring_09fe1b43_transform_, (0,0)))
grating_concentric_arc_2.add(gdstk.Reference(ring_1b9ba709_transform_, (0,0)))
grating_concentric_arc_2.add(gdstk.Reference(ring_24df8bd4_transform_, (0,0)))
grating_concentric_arc_2.add(gdstk.Reference(ring_9485e163_transform_, (0,0)))
grating_concentric_arc_2.add(gdstk.Reference(ring_f6312f1e_transform_, (0,0)))
grating_concentric_arc_2.add(gdstk.Reference(ring_8a586534_transform_, (0,0)))
grating_concentric_arc_2.add(gdstk.Reference(ring_ad8dddb4_transform_, (0,0)))
grating_concentric_arc_2.add(gdstk.Reference(ring_7403d5d4_transform_, (0,0)))
grating_concentric_arc_2.add(gdstk.Reference(ring_add9daba_transform_, (0,0)))
grating_concentric_arc_2.add(gdstk.Reference(ring_1334f1c6_transform_, (0,0)))
grating_concentric_arc_2.add(gdstk.Reference(ring_cb9ebc21_transform_, (0,0)))
grating_concentric_arc_2.add(gdstk.Reference(ring_e77836c3_transform_, (0,0)))
grating_concentric_arc_2.add(gdstk.Reference(ring_5b3ce82a_transform_, (0,0)))
grating_concentric_arc_2.add(gdstk.Reference(ring_d78f2856_transform_, (0,0)))
grating_concentric_arc_2.add(gdstk.Reference(ring_924474b5_transform_, (0,0)))
grating_concentric_arc_2.add(gdstk.Reference(ring_9c35cf03_transform_, (0,0)))

lib.write_gds('grating_concentric_arc_2ecb26b2.gds')
